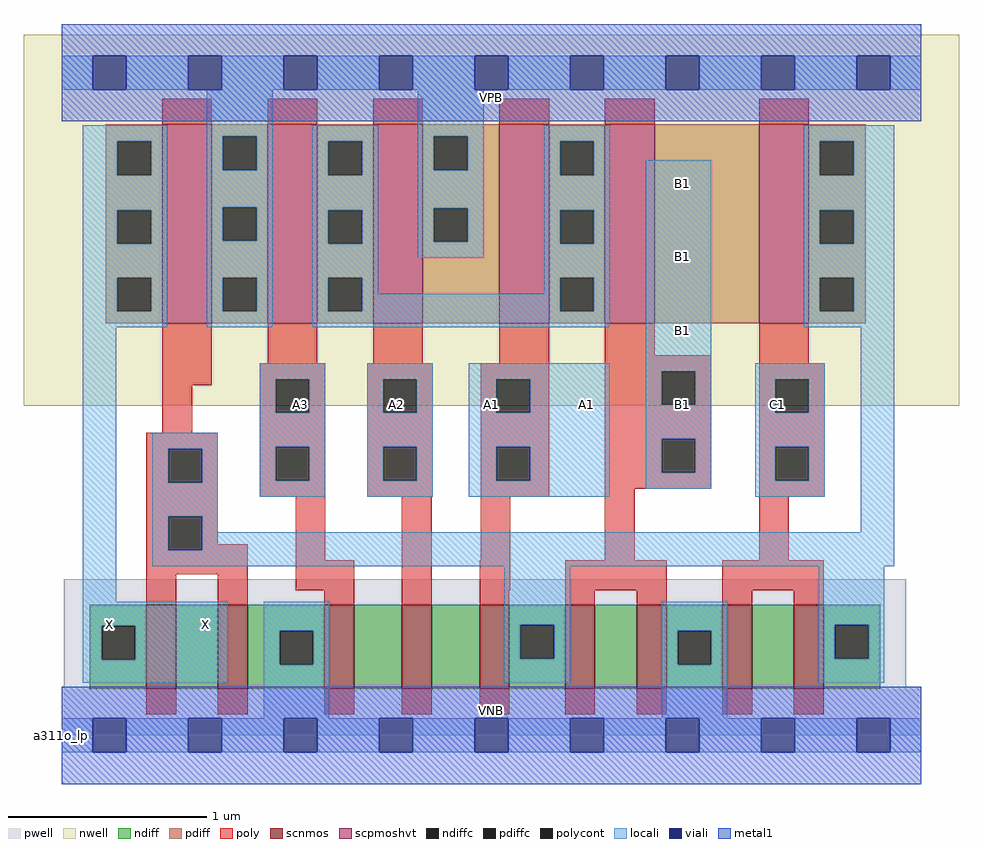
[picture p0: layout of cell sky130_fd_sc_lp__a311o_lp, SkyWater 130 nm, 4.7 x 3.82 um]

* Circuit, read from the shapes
.subckt sky130_fd_sc_lp__a311o_lp A1 A2 A3 B1 C1 VGND VNB VPB VPWR X
XM1 n1 n2 X VNB sky130_fd_pr__nfet_01v8 w=0.42 l=0.15
XM2 VGND n2 n1 VNB sky130_fd_pr__nfet_01v8 w=0.42 l=0.15
XM3 n3 A3 VGND VNB sky130_fd_pr__nfet_01v8 w=0.42 l=0.15
XM4 n4 A2 n3 VNB sky130_fd_pr__nfet_01v8 w=0.42 l=0.15
XM5 n2 A1 n4 VNB sky130_fd_pr__nfet_01v8 w=0.42 l=0.15
XM6 n5 B1 n2 VNB sky130_fd_pr__nfet_01v8 w=0.42 l=0.15
XM7 VGND B1 n5 VNB sky130_fd_pr__nfet_01v8 w=0.42 l=0.15
XM8 n6 C1 VGND VNB sky130_fd_pr__nfet_01v8 w=0.42 l=0.15
XM9 n2 C1 n6 VNB sky130_fd_pr__nfet_01v8 w=0.42 l=0.15
XM10 VPWR n2 X VPB sky130_fd_pr__pfet_01v8_hvt w=1 l=0.25
XM11 n7 A3 VPWR VPB sky130_fd_pr__pfet_01v8_hvt w=1 l=0.25
XM12 VPWR A2 n7 VPB sky130_fd_pr__pfet_01v8_hvt w=1 l=0.25
XM13 n7 A1 VPWR VPB sky130_fd_pr__pfet_01v8_hvt w=1 l=0.25
XM14 n8 B1 n7 VPB sky130_fd_pr__pfet_01v8_hvt w=1 l=0.25
XM15 n2 C1 n8 VPB sky130_fd_pr__pfet_01v8_hvt w=1 l=0.25
.ends

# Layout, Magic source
magic
tech sky130A
magscale 1 2
<< nwell >>
rect -38 331 902 704
<< pwell >>
rect 2 49 849 157
rect 0 0 864 49
<< scnmos >>
rect 85 47 115 131
rect 157 47 187 131
rect 264 47 294 131
rect 342 47 372 131
rect 420 47 450 131
rect 506 47 536 131
rect 578 47 608 131
rect 664 47 694 131
rect 736 47 766 131
<< scpmoshvt >>
rect 101 414 151 614
rect 207 414 257 614
rect 313 414 363 614
rect 440 414 490 614
rect 546 414 596 614
rect 701 414 751 614
<< ndiff >>
rect 28 110 85 131
rect 28 76 40 110
rect 74 76 85 110
rect 28 47 85 76
rect 115 47 157 131
rect 187 105 264 131
rect 187 71 219 105
rect 253 71 264 105
rect 187 47 264 71
rect 294 47 342 131
rect 372 47 420 131
rect 450 111 506 131
rect 450 77 461 111
rect 495 77 506 111
rect 450 47 506 77
rect 536 47 578 131
rect 608 105 664 131
rect 608 71 619 105
rect 653 71 664 105
rect 608 47 664 71
rect 694 47 736 131
rect 766 111 823 131
rect 766 77 777 111
rect 811 77 823 111
rect 766 47 823 77
<< pdiff >>
rect 44 597 101 614
rect 44 563 56 597
rect 90 563 101 597
rect 44 528 101 563
rect 44 494 56 528
rect 90 494 101 528
rect 44 460 101 494
rect 44 426 56 460
rect 90 426 101 460
rect 44 414 101 426
rect 151 602 207 614
rect 151 568 162 602
rect 196 568 207 602
rect 151 531 207 568
rect 151 497 162 531
rect 196 497 207 531
rect 151 460 207 497
rect 151 426 162 460
rect 196 426 207 460
rect 151 414 207 426
rect 257 597 313 614
rect 257 563 268 597
rect 302 563 313 597
rect 257 528 313 563
rect 257 494 268 528
rect 302 494 313 528
rect 257 460 313 494
rect 257 426 268 460
rect 302 426 313 460
rect 257 414 313 426
rect 363 602 440 614
rect 363 568 374 602
rect 408 568 440 602
rect 363 530 440 568
rect 363 496 374 530
rect 408 496 440 530
rect 363 414 440 496
rect 490 597 546 614
rect 490 563 501 597
rect 535 563 546 597
rect 490 528 546 563
rect 490 494 501 528
rect 535 494 546 528
rect 490 460 546 494
rect 490 426 501 460
rect 535 426 546 460
rect 490 414 546 426
rect 596 414 701 614
rect 751 597 808 614
rect 751 563 762 597
rect 796 563 808 597
rect 751 528 808 563
rect 751 494 762 528
rect 796 494 808 528
rect 751 460 808 494
rect 751 426 762 460
rect 796 426 808 460
rect 751 414 808 426
<< ndiffc >>
rect 40 76 74 110
rect 219 71 253 105
rect 461 77 495 111
rect 619 71 653 105
rect 777 77 811 111
<< pdiffc >>
rect 56 563 90 597
rect 56 494 90 528
rect 56 426 90 460
rect 162 568 196 602
rect 162 497 196 531
rect 162 426 196 460
rect 268 563 302 597
rect 268 494 302 528
rect 268 426 302 460
rect 374 568 408 602
rect 374 496 408 530
rect 501 563 535 597
rect 501 494 535 528
rect 501 426 535 460
rect 762 563 796 597
rect 762 494 796 528
rect 762 426 796 460
<< poly >>
rect 101 614 151 640
rect 207 614 257 640
rect 313 614 363 640
rect 440 614 490 640
rect 546 614 596 640
rect 701 614 751 640
rect 101 352 151 414
rect 207 374 257 414
rect 313 374 363 414
rect 440 374 490 414
rect 199 358 265 374
rect 101 304 131 352
rect 199 324 215 358
rect 249 324 265 358
rect 85 288 157 304
rect 85 254 107 288
rect 141 254 157 288
rect 85 220 157 254
rect 199 290 265 324
rect 199 256 215 290
rect 249 256 265 290
rect 199 240 265 256
rect 307 358 373 374
rect 307 324 323 358
rect 357 324 373 358
rect 307 290 373 324
rect 307 256 323 290
rect 357 256 373 290
rect 307 240 373 256
rect 421 358 490 374
rect 421 324 437 358
rect 471 324 490 358
rect 421 290 490 324
rect 421 256 437 290
rect 471 256 490 290
rect 421 240 490 256
rect 546 382 596 414
rect 546 366 653 382
rect 546 332 603 366
rect 637 332 653 366
rect 546 298 653 332
rect 546 264 603 298
rect 637 264 653 298
rect 546 248 653 264
rect 701 374 751 414
rect 701 358 767 374
rect 701 324 717 358
rect 751 324 767 358
rect 701 290 767 324
rect 701 256 717 290
rect 751 256 767 290
rect 85 186 107 220
rect 141 192 157 220
rect 141 186 187 192
rect 85 162 187 186
rect 85 131 115 162
rect 157 131 187 162
rect 235 176 265 240
rect 235 146 294 176
rect 264 131 294 146
rect 342 131 372 240
rect 421 176 451 240
rect 546 176 576 248
rect 701 240 767 256
rect 701 176 731 240
rect 420 146 451 176
rect 506 146 608 176
rect 420 131 450 146
rect 506 131 536 146
rect 578 131 608 146
rect 664 146 766 176
rect 664 131 694 146
rect 736 131 766 146
rect 85 21 115 47
rect 157 21 187 47
rect 264 21 294 47
rect 342 21 372 47
rect 420 21 450 47
rect 506 21 536 47
rect 578 21 608 47
rect 664 21 694 47
rect 736 21 766 47
<< polycont >>
rect 215 324 249 358
rect 107 254 141 288
rect 215 256 249 290
rect 323 324 357 358
rect 323 256 357 290
rect 437 324 471 358
rect 437 256 471 290
rect 603 332 637 366
rect 603 264 637 298
rect 717 324 751 358
rect 717 256 751 290
rect 107 186 141 220
<< locali >>
rect 0 649 31 683
rect 65 649 127 683
rect 161 649 223 683
rect 257 649 319 683
rect 353 649 415 683
rect 449 649 511 683
rect 545 649 607 683
rect 641 649 703 683
rect 737 649 799 683
rect 833 649 864 683
rect 21 597 106 613
rect 21 563 56 597
rect 90 563 106 597
rect 21 528 106 563
rect 21 494 56 528
rect 90 494 106 528
rect 21 460 106 494
rect 21 426 56 460
rect 90 426 106 460
rect 21 410 106 426
rect 146 602 212 649
rect 146 568 162 602
rect 196 568 212 602
rect 146 531 212 568
rect 146 497 162 531
rect 196 497 212 531
rect 146 460 212 497
rect 146 426 162 460
rect 196 426 212 460
rect 146 410 212 426
rect 252 597 318 613
rect 252 563 268 597
rect 302 563 318 597
rect 252 528 318 563
rect 252 494 268 528
rect 302 494 318 528
rect 252 460 318 494
rect 358 602 424 649
rect 358 568 374 602
rect 408 568 424 602
rect 358 530 424 568
rect 358 496 374 530
rect 408 496 424 530
rect 358 480 424 496
rect 485 597 551 613
rect 485 563 501 597
rect 535 563 551 597
rect 746 597 837 613
rect 485 528 551 563
rect 485 494 501 528
rect 535 494 551 528
rect 252 426 268 460
rect 302 444 318 460
rect 485 460 551 494
rect 485 444 501 460
rect 302 426 501 444
rect 535 426 551 460
rect 252 410 551 426
rect 21 134 55 410
rect 199 358 265 374
rect 199 324 215 358
rect 249 324 265 358
rect 91 288 157 304
rect 91 254 107 288
rect 141 254 157 288
rect 91 220 157 254
rect 199 290 265 324
rect 199 256 215 290
rect 249 256 265 290
rect 199 240 265 256
rect 307 358 373 374
rect 307 324 323 358
rect 357 324 373 358
rect 307 290 373 324
rect 307 256 323 290
rect 357 256 373 290
rect 307 240 373 256
rect 409 358 551 374
rect 409 324 437 358
rect 471 324 551 358
rect 409 290 551 324
rect 409 256 437 290
rect 471 256 551 290
rect 409 240 551 256
rect 587 366 653 578
rect 746 563 762 597
rect 796 563 837 597
rect 746 528 837 563
rect 746 494 762 528
rect 796 494 837 528
rect 746 460 837 494
rect 746 426 762 460
rect 796 426 837 460
rect 746 410 837 426
rect 587 332 603 366
rect 637 332 653 366
rect 587 298 653 332
rect 587 264 603 298
rect 637 264 653 298
rect 587 248 653 264
rect 697 358 767 374
rect 697 324 717 358
rect 751 324 767 358
rect 697 290 767 324
rect 697 256 717 290
rect 751 256 767 290
rect 697 240 767 256
rect 91 186 107 220
rect 141 204 157 220
rect 803 204 837 410
rect 141 186 837 204
rect 91 170 837 186
rect 21 110 167 134
rect 21 76 40 110
rect 74 76 167 110
rect 21 53 167 76
rect 203 105 269 134
rect 203 71 219 105
rect 253 71 269 105
rect 203 17 269 71
rect 445 111 511 170
rect 445 77 461 111
rect 495 77 511 111
rect 445 53 511 77
rect 603 105 669 134
rect 603 71 619 105
rect 653 71 669 105
rect 603 17 669 71
rect 761 111 827 170
rect 761 77 777 111
rect 811 77 827 111
rect 761 53 827 77
rect 0 -17 31 17
rect 65 -17 127 17
rect 161 -17 223 17
rect 257 -17 319 17
rect 353 -17 415 17
rect 449 -17 511 17
rect 545 -17 607 17
rect 641 -17 703 17
rect 737 -17 799 17
rect 833 -17 864 17
<< viali >>
rect 31 649 65 683
rect 127 649 161 683
rect 223 649 257 683
rect 319 649 353 683
rect 415 649 449 683
rect 511 649 545 683
rect 607 649 641 683
rect 703 649 737 683
rect 799 649 833 683
rect 31 -17 65 17
rect 127 -17 161 17
rect 223 -17 257 17
rect 319 -17 353 17
rect 415 -17 449 17
rect 511 -17 545 17
rect 607 -17 641 17
rect 703 -17 737 17
rect 799 -17 833 17
<< metal1 >>
rect 0 683 864 715
rect 0 649 31 683
rect 65 649 127 683
rect 161 649 223 683
rect 257 649 319 683
rect 353 649 415 683
rect 449 649 511 683
rect 545 649 607 683
rect 641 649 703 683
rect 737 649 799 683
rect 833 649 864 683
rect 0 617 864 649
rect 0 17 864 49
rect 0 -17 31 17
rect 65 -17 127 17
rect 161 -17 223 17
rect 257 -17 319 17
rect 353 -17 415 17
rect 449 -17 511 17
rect 545 -17 607 17
rect 641 -17 703 17
rect 737 -17 799 17
rect 833 -17 864 17
rect 0 -49 864 -17
<< labels >>
flabel pwell s 0 0 864 49 0 FreeSans 200 0 0 0 VNB
port 7 nsew ground bidirectional
flabel nwell s 0 617 864 666 0 FreeSans 200 0 0 0 VPB
port 8 nsew power bidirectional
rlabel comment s 0 0 0 0 4 a311o_lp
flabel metal1 s 0 617 864 666 0 FreeSans 340 0 0 0 VPWR
port 9 nsew power bidirectional
flabel metal1 s 0 0 864 49 0 FreeSans 340 0 0 0 VGND
port 6 nsew ground bidirectional
flabel locali s 703 316 737 350 0 FreeSans 340 0 0 0 C1
port 5 nsew signal input
flabel locali s 607 316 641 350 0 FreeSans 340 0 0 0 B1
port 4 nsew signal input
flabel locali s 607 390 641 424 0 FreeSans 340 0 0 0 B1
port 4 nsew signal input
flabel locali s 607 464 641 498 0 FreeSans 340 0 0 0 B1
port 4 nsew signal input
flabel locali s 607 538 641 572 0 FreeSans 340 0 0 0 B1
port 4 nsew signal input
flabel locali s 223 316 257 350 0 FreeSans 340 0 0 0 A3
port 3 nsew signal input
flabel locali s 319 316 353 350 0 FreeSans 340 0 0 0 A2
port 2 nsew signal input
flabel locali s 415 316 449 350 0 FreeSans 340 0 0 0 A1
port 1 nsew signal input
flabel locali s 511 316 545 350 0 FreeSans 340 0 0 0 A1
port 1 nsew signal input
flabel locali s 31 94 65 128 0 FreeSans 340 0 0 0 X
port 10 nsew signal output
flabel locali s 127 94 161 128 0 FreeSans 340 0 0 0 X
port 10 nsew signal output
<< properties >>
string LEFsite unit
string LEFclass CORE
string FIXED_BBOX 0 0 864 666
string GDS_FILE $PDKPATH/libs.ref/sky130_fd_sc_lp/gds/sky130_fd_sc_lp.gds
string LEFsymmetry X Y R90
string GDS_END 3935262
string GDS_START 3927174
<< end >>
